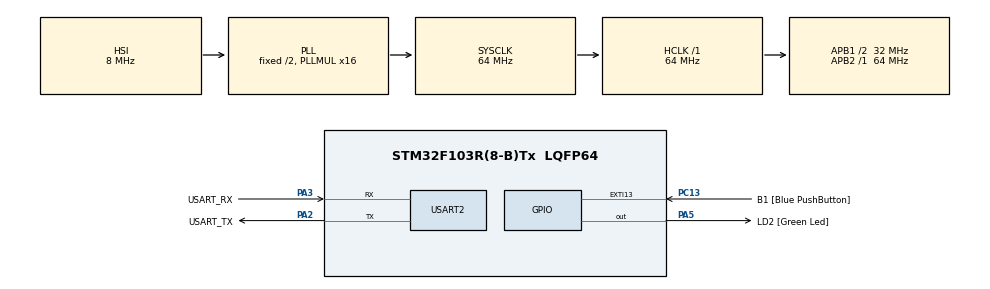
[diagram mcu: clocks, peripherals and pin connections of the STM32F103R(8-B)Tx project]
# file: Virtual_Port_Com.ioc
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Mcu.Family=STM32F1
Mcu.Name=STM32F103R(8-B)Tx
Mcu.Package=LQFP64
NVIC.EXTI15_10_IRQn=true\:0\:0\:false\:false\:true\:true\:true
NVIC.PriorityGroup=NVIC_PRIORITYGROUP_4
NVIC.USART2_IRQn=true\:0\:0\:false\:false\:true\:true\:true
PA13.GPIO_Label=TMS
PA13.Mode=Serial_Wire
PA13.Signal=SYS_JTMS-SWDIO
PA14.GPIO_Label=TCK
PA14.Mode=Serial_Wire
PA14.Signal=SYS_JTCK-SWCLK
PA2.GPIO_Label=USART_TX
PA2.GPIO_Mode=GPIO_MODE_AF_PP
PA2.GPIO_PuPd=GPIO_NOPULL
PA2.GPIO_Speed=GPIO_SPEED_FREQ_LOW
PA2.Mode=Asynchronous
PA2.Signal=USART2_TX
PA3.GPIO_Label=USART_RX
PA3.GPIO_Mode=GPIO_MODE_AF_PP
PA3.GPIO_PuPd=GPIO_NOPULL
PA3.GPIO_Speed=GPIO_SPEED_FREQ_LOW
PA3.Mode=Asynchronous
PA3.Signal=USART2_RX
PA5.GPIO_Label=LD2 [Green Led]
PA5.GPIO_ModeDefaultOutputPP=GPIO_MODE_OUTPUT_PP
PA5.GPIO_PuPd=GPIO_NOPULL
PA5.GPIO_Speed=GPIO_SPEED_FREQ_LOW
PA5.Signal=GPIO_Output
PB3.GPIO_Label=SWO
PB3.Signal=SYS_JTDO-TRACESWO
PC13-TAMPER-RTC.GPIO_Label=B1 [Blue PushButton]
PC13-TAMPER-RTC.GPIO_PuPd=GPIO_NOPULL
PC13-TAMPER-RTC.Signal=GPXTI13
PC14-OSC32_IN.Mode=LSE-External-Oscillator
PC14-OSC32_IN.Signal=RCC_OSC32_IN
PC15-OSC32_OUT.Mode=LSE-External-Oscillator
PC15-OSC32_OUT.Signal=RCC_OSC32_OUT
PD0-OSC_IN.Mode=HSE-External-Clock-Source
PD0-OSC_IN.Signal=RCC_OSC_IN
PD1-OSC_OUT.Mode=HSE-External-Clock-Source
PD1-OSC_OUT.Signal=RCC_OSC_OUT
ProjectManager.HeapSize=0x200
ProjectManager.StackSize=0x400
ProjectManager.TargetToolchain=MDK-ARM V5
RCC.AHBFreq_Value=64000000
RCC.APB1CLKDivider=RCC_HCLK_DIV2
RCC.APB1Freq_Value=32000000
RCC.APB1TimFreq_Value=64000000
RCC.APB2Freq_Value=64000000
RCC.APB2TimFreq_Value=64000000
RCC.HCLKFreq_Value=64000000
RCC.PLLMUL=RCC_PLL_MUL16
RCC.RTCClockSelection=RCC_RTCCLKSOURCE_LSE
RCC.SYSCLKFreq_VALUE=64000000
RCC.SYSCLKSource=RCC_SYSCLKSOURCE_PLLCLK
RCC.USBFreq_Value=64000000
USART2.VirtualMode=VM_ASYNC
board=NUCLEO-F103RB

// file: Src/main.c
/* USER CODE BEGIN Header */
/**
  ******************************************************************************
  * @file           : main.c
  * @brief          : Main program body
  ******************************************************************************
  * @attention
  *
  * <h2><center>&copy; Copyright (c) 2020 STMicroelectronics.
  * All rights reserved.</center></h2>
  *
  * This software component is licensed by ST under BSD 3-Clause license,
  * the "License"; You may not use this file except in compliance with the
  * License. You may obtain a copy of the License at:
  *                        opensource.org/licenses/BSD-3-Clause
  *
  ******************************************************************************
  */
/* USER CODE END Header */

#include "main.h"
#include "usart.h"
#include "gpio.h"

/* USER CODE BEGIN Includes */
#include <stdio.h>
#include <string.h>
/* USER CODE END Includes */

/* USER CODE BEGIN PV */
char Rx_indx, Rx_Buffer[100], buffer[100];
uint8_t len=0, Transfer_cplt, Rx_data[2];
/* USER CODE END PV */

void SystemClock_Config(void);
void Error_Handler(void); // User defined
/* USER CODE BEGIN PFP */
#define PUTCHAR_PROTOTYPE int fputc(int ch, FILE *f)
/* USER CODE END PFP */

/* USER CODE BEGIN 0 */
PUTCHAR_PROTOTYPE{
  HAL_UART_Transmit(&huart2, (uint8_t *)&ch, 1, 1000 );
  return ch;
}

void HAL_UART_RxCptlCallback(UART_HandleTypeDef *huart) {
  int i;
  if ( huart->Instance == USART2) {  // Current UART
    if (Rx_indx == 0) {
      for (i = 0; i < 100; i++)
        Rx_Buffer[i] = 0;
    }

    // Clear buffer
    if (Rx_data[0] != 10) {
      // Received data is different

      // Add data to Rx_Buffer
      Rx_Buffer[Rx_indx++] = Rx_data[0];
    } else {
      // Received data is Enter

      Rx_indx = 0;

      // Transfer complete, data is ready to read
      Transfer_cplt = 1;
    }

    // Activate UART receive interrupt every time
    HAL_UART_Receive_IT( &huart, Rx_data, 1 );
  }
}
/* USER CODE END 0 */

int main(void)
{

  /* MCU Configuration--------------------------------------------------------*/

  /* Reset of all peripherals, Initializes the Flash interface and the Systick. */
  HAL_Init();

  /* Configure the system clock */
  SystemClock_Config();

  /* Initialize all configured peripherals */
  MX_GPIO_Init();
  MX_USART2_UART_Init();
  /* USER CODE BEGIN 2 */

  // Activate UART RX inteerupt every time 1 byte is received
  HAL_UART_Receive_IT( &huart2, Rx_data, 1 );

	printf("Entrez votre prenom.\r\n");
  /* USER CODE END 2 */

  /* Infinite loop */
  while (1)
  {

    /* USER CODE BEGIN 3 */
    if ( Transfer_cplt ) {
      sprintf( buffer, "%s\r\n", Rx_Buffer );
      len = strlen( buffer );
      printf( "Votre prenom est : %s \r\n", buffer );
      Transfer_cplt = 0;
      HAL_Delay(500);
    }
  }
  /* USER CODE END 3 */
}

void SystemClock_Config(void)
{
  RCC_OscInitTypeDef RCC_OscInitStruct = {0};
  RCC_ClkInitTypeDef RCC_ClkInitStruct = {0};

  /** Initializes the CPU, AHB and APB busses clocks
  */
  RCC_OscInitStruct.OscillatorType = RCC_OSCILLATORTYPE_HSI;
  RCC_OscInitStruct.HSIState = RCC_HSI_ON;
  RCC_OscInitStruct.HSICalibrationValue = RCC_HSICALIBRATION_DEFAULT;
  RCC_OscInitStruct.PLL.PLLState = RCC_PLL_ON;
  RCC_OscInitStruct.PLL.PLLSource = RCC_PLLSOURCE_HSI_DIV2;
  RCC_OscInitStruct.PLL.PLLMUL = RCC_PLL_MUL16;
  if (HAL_RCC_OscConfig(&RCC_OscInitStruct) != HAL_OK)
  {
    Error_Handler();
  }
  /** Initializes the CPU, AHB and APB busses clocks
  */
  RCC_ClkInitStruct.ClockType = RCC_CLOCKTYPE_HCLK|RCC_CLOCKTYPE_SYSCLK
                              |RCC_CLOCKTYPE_PCLK1|RCC_CLOCKTYPE_PCLK2;
  RCC_ClkInitStruct.SYSCLKSource = RCC_SYSCLKSOURCE_PLLCLK;
  RCC_ClkInitStruct.AHBCLKDivider = RCC_SYSCLK_DIV1;
  RCC_ClkInitStruct.APB1CLKDivider = RCC_HCLK_DIV2;
  RCC_ClkInitStruct.APB2CLKDivider = RCC_HCLK_DIV1;

  if (HAL_RCC_ClockConfig(&RCC_ClkInitStruct, FLASH_LATENCY_2) != HAL_OK)
  {
    Error_Handler();
  }
}

void Error_Handler(void)
{
}

/************************ (C) COPYRIGHT STMicroelectronics *****END OF FILE****/
